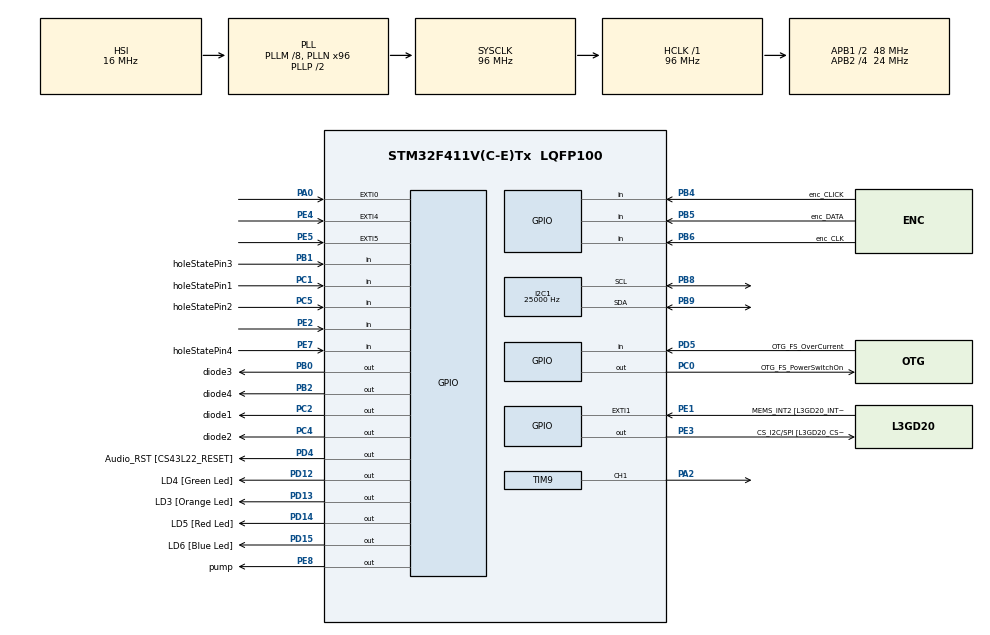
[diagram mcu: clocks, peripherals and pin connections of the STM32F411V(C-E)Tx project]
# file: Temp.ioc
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FREERTOS.Tasks01=defaultTask,1,128,StartDefaultTask,Default,NULL,Dynamic,NULL,NULL;diodeDetector,-3,128,diodeDetector_Init,Default,NULL,Dynamic,NULL,NULL;holeState,0,128,holeState_Init,Default,NULL,Dynamic,NULL,NULL;displayMenu,-3,128,displayMenu_Init,Default,NULL,Dynamic,NULL,NULL;servoPour,2,128,pourInit,Default,NULL,Dynamic,NULL,NULL
FREERTOS.configUSE_NEWLIB_REENTRANT=1
I2C1.ClockSpeed=25000
I2C1.I2C_Mode=I2C_Standard
Mcu.Family=STM32F4
Mcu.Name=STM32F411V(C-E)Tx
Mcu.Package=LQFP100
NVIC.PriorityGroup=NVIC_PRIORITYGROUP_4
NVIC.TIM1_UP_TIM10_IRQn=true\:15\:0\:false\:false\:true\:false\:false\:true\:true
NVIC.TIM2_IRQn=true\:5\:0\:false\:false\:true\:true\:true\:true\:true
NVIC.TimeBase=TIM1_UP_TIM10_IRQn
NVIC.TimeBaseIP=TIM1
PA0-WKUP.GPIO_ModeDefaultEXTI=GPIO_MODE_EVT_RISING
PA0-WKUP.Signal=GPXTI0
PA10.GPIO_Label=OTG_FS_ID
PA10.Signal=USB_OTG_FS_ID
PA11.GPIO_Label=OTG_FS_DM
PA11.Signal=USB_OTG_FS_DM
PA12.GPIO_Label=OTG_FS_DP
PA12.Signal=USB_OTG_FS_DP
PA13.GPIO_Label=SWDIO
PA13.Signal=SYS_JTMS-SWDIO
PA14.GPIO_Label=SWCLK
PA14.Signal=SYS_JTCK-SWCLK
PA2.Signal=S_TIM9_CH1
PA4.GPIO_Label=I2S3_WS [CS43L22_LRCK]
PA4.GPIO_Mode=GPIO_MODE_AF_PP
PA4.GPIO_PuPd=GPIO_NOPULL
PA4.GPIO_Speed=GPIO_SPEED_FREQ_LOW
PA4.Signal=I2S3_WS
PA5.GPIO_Label=SPI1_SCK [L3GD20_SC/SPC]
PA5.Signal=SPI1_SCK
PA6.GPIO_Label=SPI1_MISO [L3GD20_AS0/SDO]
PA6.Signal=SPI1_MISO
PA7.GPIO_Label=SPI1_MOSI [L3GD20_SDA/SDI/SDO]
PA7.Signal=SPI1_MOSI
PA9.GPIO_Label=VBUS_FS
PA9.Signal=USB_OTG_FS_VBUS
PB0.GPIO_Label=diode3
PB0.Signal=GPIO_Output
PB1.GPIO_Label=holeStatePin3
PB1.GPIO_PuPd=GPIO_PULLDOWN
PB1.Signal=GPIO_Input
PB10.GPIO_Label=CLK_IN [MP45DT02_CLK]
PB10.Signal=I2S2_CK
PB12.Signal=I2S2_WS
PB2.GPIO_Label=diode4
PB2.Signal=GPIO_Output
PB3.GPIO_Label=SWO
PB3.Signal=SYS_JTDO-SWO
PB4.GPIO_Label=enc_CLICK
PB4.GPIO_PuPd=GPIO_NOPULL
PB4.Signal=GPIO_Input
PB5.GPIO_Label=enc_DATA
PB5.Signal=GPIO_Input
PB6.GPIO_Label=enc_CLK
PB6.Signal=GPIO_Input
PB8.Mode=I2C
PB8.Signal=I2C1_SCL
PB9.Mode=I2C
PB9.Signal=I2C1_SDA
PC0.GPIO_Label=OTG_FS_PowerSwitchOn
PC0.PinState=GPIO_PIN_SET
PC0.Signal=GPIO_Output
PC1.GPIO_Label=holeStatePin1
PC1.GPIO_PuPd=GPIO_PULLDOWN
PC1.Signal=GPIO_Input
PC10.GPIO_Label=I2S3_SCK [CS43L22_SCLK]
PC10.GPIO_Mode=GPIO_MODE_AF_PP
PC10.GPIO_PuPd=GPIO_NOPULL
PC10.GPIO_Speed=GPIO_SPEED_FREQ_LOW
PC10.Signal=I2S3_CK
PC12.GPIO_Label=I2S3_SD [CS43L22_SDIN]
PC12.GPIO_Mode=GPIO_MODE_AF_PP
PC12.GPIO_PuPd=GPIO_NOPULL
PC12.GPIO_Speed=GPIO_SPEED_FREQ_LOW
PC12.Signal=I2S3_SD
PC14-OSC32_IN.GPIO_Label=PC14-OSC32_IN
PC14-OSC32_IN.Signal=RCC_OSC32_IN
PC15-OSC32_OUT.GPIO_Label=PC15-OSC32_OUT
PC15-OSC32_OUT.Signal=RCC_OSC32_OUT
PC2.GPIO_Label=diode1
PC2.Signal=GPIO_Output
PC3.GPIO_Label=PDM_OUT [MP45DT02_DOUT]
PC3.Signal=I2S2_SD
PC4.GPIO_Label=diode2
PC4.Signal=GPIO_Output
PC5.GPIO_Label=holeStatePin2
PC5.GPIO_PuPd=GPIO_PULLDOWN
PC5.Signal=GPIO_Input
PC7.GPIO_Label=I2S3_MCK [CS43L22_MCLK]
PC7.GPIO_Mode=GPIO_MODE_AF_PP
PC7.GPIO_PuPd=GPIO_NOPULL
PC7.GPIO_Speed=GPIO_SPEED_FREQ_LOW
PC7.Signal=I2S3_MCK
PD12.GPIO_Label=LD4 [Green Led]
PD12.GPIO_PuPd=GPIO_NOPULL
PD12.GPIO_Speed=GPIO_SPEED_FREQ_LOW
PD12.Signal=GPIO_Output
PD13.GPIO_Label=LD3 [Orange Led]
PD13.GPIO_PuPd=GPIO_NOPULL
PD13.GPIO_Speed=GPIO_SPEED_FREQ_LOW
PD13.Signal=GPIO_Output
PD14.GPIO_Label=LD5 [Red Led]
PD14.GPIO_PuPd=GPIO_NOPULL
PD14.GPIO_Speed=GPIO_SPEED_FREQ_LOW
PD14.Signal=GPIO_Output
PD15.GPIO_Label=LD6 [Blue Led]
PD15.GPIO_PuPd=GPIO_NOPULL
PD15.GPIO_Speed=GPIO_SPEED_FREQ_LOW
PD15.Signal=GPIO_Output
PD4.GPIO_Label=Audio_RST [CS43L22_RESET]
PD4.Signal=GPIO_Output
PD5.GPIO_Label=OTG_FS_OverCurrent
PD5.Signal=GPIO_Input
PE1.GPIO_Label=MEMS_INT2 [L3GD20_INT2]
PE1.GPIO_ModeDefaultEXTI=GPIO_MODE_EVT_RISING
PE1.Signal=GPXTI1
PE2.Signal=GPIO_Input
PE3.GPIO_Label=CS_I2C/SPI [L3GD20_CS_I2C/SPI]
PE3.Signal=GPIO_Output
PE4.GPIO_ModeDefaultEXTI=GPIO_MODE_EVT_RISING
PE4.Signal=GPXTI4
PE5.GPIO_ModeDefaultEXTI=GPIO_MODE_EVT_RISING
PE5.Signal=GPXTI5
PE7.GPIO_Label=holeStatePin4
PE7.GPIO_PuPd=GPIO_PULLDOWN
PE7.Signal=GPIO_Input
PE8.GPIO_Label=pump
PE8.Signal=GPIO_Output
PH0\ -\ OSC_IN.GPIO_Label=PH0-OSC_IN
PH0\ -\ OSC_IN.Signal=RCC_OSC_IN
PH1\ -\ OSC_OUT.GPIO_Label=PH1-OSC_OUT
PH1\ -\ OSC_OUT.Signal=RCC_OSC_OUT
ProjectManager.HeapSize=0x200
ProjectManager.StackSize=0x400
ProjectManager.TargetToolchain=STM32CubeIDE
RCC.48MHZClocksFreq_Value=24000000
RCC.AHBFreq_Value=96000000
RCC.APB1CLKDivider=RCC_HCLK_DIV2
RCC.APB1Freq_Value=48000000
RCC.APB1TimFreq_Value=96000000
RCC.APB2CLKDivider=RCC_HCLK_DIV4
RCC.APB2Freq_Value=24000000
RCC.APB2TimFreq_Value=48000000
RCC.CortexFreq_Value=96000000
RCC.HCLKFreq_Value=96000000
RCC.HSE_VALUE=8000000
RCC.HSI_VALUE=16000000
RCC.LSE_VALUE=32768
RCC.PLLI2SM=5
RCC.PLLI2SN=200
RCC.PLLM=8
RCC.PLLN=96
RCC.PLLQ=8
RCC.SYSCLKFreq_VALUE=96000000
RCC.SYSCLKSource=RCC_SYSCLKSOURCE_PLLCLK
RCC.VCOOutputFreq_Value=192000000
SH.S_TIM9_CH1.0=TIM9_CH1,PWM Generation1 CH1
TIM2.Period=60000
TIM9.AutoReloadPreload=TIM_AUTORELOAD_PRELOAD_ENABLE
TIM9.Channel-PWM\ Generation1\ CH1=TIM_CHANNEL_1
TIM9.Period=3600
TIM9.Prescaler=266
TIM9.Pulse-PWM\ Generation1\ CH1=249
VP_FREERTOS_VS_CMSIS_V1.Mode=CMSIS_V1
VP_SYS_VS_tim1.Mode=TIM1
VP_TIM2_VS_ClockSourceINT.Mode=Internal
board=STM32F411E-DISCO

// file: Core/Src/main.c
/* USER CODE BEGIN Header */
/**
  ******************************************************************************
  * @file           : main.c
  * @brief          : Main program body
  ******************************************************************************
  * @attention
  *
  * Copyright (c) 2024 STMicroelectronics.
  * All rights reserved.
  *
  * This software is licensed under terms that can be found in the LICENSE file
  * in the root directory of this software component.
  * If no LICENSE file comes with this software, it is provided AS-IS.
  *
  ******************************************************************************
  */
/* USER CODE END Header */
#include "main.h"
#include "cmsis_os.h"

/* USER CODE BEGIN Includes */
#include "menuHandler.h"
#include "shotHolder.h"
#include "liquidcrystal_i2c.h"
#include "servo.h"
#include "encoder.h"
/* USER CODE END Includes */

I2C_HandleTypeDef hi2c1;

TIM_HandleTypeDef htim2;
TIM_HandleTypeDef htim9;

osThreadId defaultTaskHandle;
osThreadId diodeDetectorHandle;
osThreadId holeStateHandle;
osThreadId displayMenuHandle;
osThreadId servoPourHandle;
/* USER CODE BEGIN PV */
/* delete them later */
uint8_t holeState1 = 0;
uint8_t menuCursor = 0;
uint8_t subMenu = 0;

/**
 * @brief Assigns function names to each substructure and drink position structure
 *
 *  This allows to use "handleLeft", "handleRight" and "clickedReact" only for better clarity
 */
sub_t SUB1 = {.leftReact = leftReact1, .rightReact = rightReact1, .clickedReact=clickedReact1};
sub_t SUB2 = {.leftReact = leftReact2, .rightReact = rightReact2, .clickedReact=clickedReact2};
sub_t SUB3 = {.leftReact = leftReact3, .rightReact = rightReact3, .clickedReact=clickedReact3};
menu_t menu = {.handleLeft = handleLeft, .handleRight = handleRight, .clickedReact=handleClicked};
drinkpos_t drinkpos = {{0,0,0,0}, .drinkChange = drinkChange, .drinkReset = drinkReset};
/* USER CODE END PV */

void SystemClock_Config(void);
static void MX_GPIO_Init(void);
static void MX_I2C1_Init(void);
static void MX_TIM2_Init(void);
static void MX_TIM9_Init(void);
void StartDefaultTask(void const * argument);
void diodeDetector_Init(void const * argument);
void holeState_Init(void const * argument);
void displayMenu_Init(void const * argument);
void pourInit(void const * argument);

/* USER CODE BEGIN PFP */
/*

*/
/* USER CODE END PFP */

int main(void)
{
  /* USER CODE BEGIN 1 */
  menu.currentMenu = &SUB1;
  /* USER CODE END 1 */

  /* MCU Configuration--------------------------------------------------------*/

  /* Reset of all peripherals, Initializes the Flash interface and the Systick. */
  HAL_Init();

  /* Configure the system clock */
  SystemClock_Config();

  /* Initialize all configured peripherals */
  MX_GPIO_Init();
  MX_I2C1_Init();
  MX_TIM2_Init();
  MX_TIM9_Init();
  /* USER CODE BEGIN 2 */
  encoderInit();
  HAL_TIM_Base_Start_IT(&htim2);
  HAL_TIM_PWM_Start(&htim9, TIM_CHANNEL_1);
  initServo();
  /* USER CODE END 2 */

  /* Create the thread(s) */
  /* definition and creation of defaultTask */
  osThreadDef(defaultTask, StartDefaultTask, osPriorityAboveNormal, 0, 128);
  defaultTaskHandle = osThreadCreate(osThread(defaultTask), NULL);

  /* definition and creation of diodeDetector */
  osThreadDef(diodeDetector, diodeDetector_Init, osPriorityIdle, 0, 128);
  diodeDetectorHandle = osThreadCreate(osThread(diodeDetector), NULL);

  /* definition and creation of holeState */
  osThreadDef(holeState, holeState_Init, osPriorityNormal, 0, 128);
  holeStateHandle = osThreadCreate(osThread(holeState), NULL);

  /* definition and creation of displayMenu */
  osThreadDef(displayMenu, displayMenu_Init, osPriorityIdle, 0, 128);
  displayMenuHandle = osThreadCreate(osThread(displayMenu), NULL);

  /* definition and creation of servoPour */
  osThreadDef(servoPour, pourInit, osPriorityHigh, 0, 128);
  servoPourHandle = osThreadCreate(osThread(servoPour), NULL);

  /* Start scheduler */
  osKernelStart();

  /* We should never get here as control is now taken by the scheduler */
  /* Infinite loop */
  while (1)
  {

  }
}

void SystemClock_Config(void)
{
  RCC_OscInitTypeDef RCC_OscInitStruct = {0};
  RCC_ClkInitTypeDef RCC_ClkInitStruct = {0};

  /** Configure the main internal regulator output voltage
  */
  __HAL_RCC_PWR_CLK_ENABLE();
  __HAL_PWR_VOLTAGESCALING_CONFIG(PWR_REGULATOR_VOLTAGE_SCALE1);

  /** Initializes the RCC Oscillators according to the specified parameters
  * in the RCC_OscInitTypeDef structure.
  */
  RCC_OscInitStruct.OscillatorType = RCC_OSCILLATORTYPE_HSI;
  RCC_OscInitStruct.HSIState = RCC_HSI_ON;
  RCC_OscInitStruct.HSICalibrationValue = RCC_HSICALIBRATION_DEFAULT;
  RCC_OscInitStruct.PLL.PLLState = RCC_PLL_ON;
  RCC_OscInitStruct.PLL.PLLSource = RCC_PLLSOURCE_HSI;
  RCC_OscInitStruct.PLL.PLLM = 8;
  RCC_OscInitStruct.PLL.PLLN = 96;
  RCC_OscInitStruct.PLL.PLLP = RCC_PLLP_DIV2;
  RCC_OscInitStruct.PLL.PLLQ = 8;
  if (HAL_RCC_OscConfig(&RCC_OscInitStruct) != HAL_OK)
  {
    Error_Handler();
  }

  /** Initializes the CPU, AHB and APB buses clocks
  */
  RCC_ClkInitStruct.ClockType = RCC_CLOCKTYPE_HCLK|RCC_CLOCKTYPE_SYSCLK
                              |RCC_CLOCKTYPE_PCLK1|RCC_CLOCKTYPE_PCLK2;
  RCC_ClkInitStruct.SYSCLKSource = RCC_SYSCLKSOURCE_PLLCLK;
  RCC_ClkInitStruct.AHBCLKDivider = RCC_SYSCLK_DIV1;
  RCC_ClkInitStruct.APB1CLKDivider = RCC_HCLK_DIV2;
  RCC_ClkInitStruct.APB2CLKDivider = RCC_HCLK_DIV4;

  if (HAL_RCC_ClockConfig(&RCC_ClkInitStruct, FLASH_LATENCY_3) != HAL_OK)
  {
    Error_Handler();
  }
}

static void MX_I2C1_Init(void)
{

  hi2c1.Instance = I2C1;
  hi2c1.Init.ClockSpeed = 25000;
  hi2c1.Init.DutyCycle = I2C_DUTYCYCLE_2;
  hi2c1.Init.OwnAddress1 = 0;
  hi2c1.Init.AddressingMode = I2C_ADDRESSINGMODE_7BIT;
  hi2c1.Init.DualAddressMode = I2C_DUALADDRESS_DISABLE;
  hi2c1.Init.OwnAddress2 = 0;
  hi2c1.Init.GeneralCallMode = I2C_GENERALCALL_DISABLE;
  hi2c1.Init.NoStretchMode = I2C_NOSTRETCH_DISABLE;
  if (HAL_I2C_Init(&hi2c1) != HAL_OK)
  {
    Error_Handler();
  }

}

static void MX_TIM2_Init(void)
{

  TIM_ClockConfigTypeDef sClockSourceConfig = {0};
  TIM_MasterConfigTypeDef sMasterConfig = {0};

  htim2.Instance = TIM2;
  htim2.Init.Prescaler = 0;
  htim2.Init.CounterMode = TIM_COUNTERMODE_UP;
  htim2.Init.Period = 60000;
  htim2.Init.ClockDivision = TIM_CLOCKDIVISION_DIV1;
  htim2.Init.AutoReloadPreload = TIM_AUTORELOAD_PRELOAD_DISABLE;
  if (HAL_TIM_Base_Init(&htim2) != HAL_OK)
  {
    Error_Handler();
  }
  sClockSourceConfig.ClockSource = TIM_CLOCKSOURCE_INTERNAL;
  if (HAL_TIM_ConfigClockSource(&htim2, &sClockSourceConfig) != HAL_OK)
  {
    Error_Handler();
  }
  sMasterConfig.MasterOutputTrigger = TIM_TRGO_RESET;
  sMasterConfig.MasterSlaveMode = TIM_MASTERSLAVEMODE_DISABLE;
  if (HAL_TIMEx_MasterConfigSynchronization(&htim2, &sMasterConfig) != HAL_OK)
  {
    Error_Handler();
  }

}

static void MX_TIM9_Init(void)
{

  TIM_OC_InitTypeDef sConfigOC = {0};

  htim9.Instance = TIM9;
  htim9.Init.Prescaler = 266;
  htim9.Init.CounterMode = TIM_COUNTERMODE_UP;
  htim9.Init.Period = 3600;
  htim9.Init.ClockDivision = TIM_CLOCKDIVISION_DIV1;
  htim9.Init.AutoReloadPreload = TIM_AUTORELOAD_PRELOAD_ENABLE;
  if (HAL_TIM_PWM_Init(&htim9) != HAL_OK)
  {
    Error_Handler();
  }
  sConfigOC.OCMode = TIM_OCMODE_PWM1;
  sConfigOC.Pulse = 249;
  sConfigOC.OCPolarity = TIM_OCPOLARITY_HIGH;
  sConfigOC.OCFastMode = TIM_OCFAST_DISABLE;
  if (HAL_TIM_PWM_ConfigChannel(&htim9, &sConfigOC, TIM_CHANNEL_1) != HAL_OK)
  {
    Error_Handler();
  }
  HAL_TIM_MspPostInit(&htim9);

}

static void MX_GPIO_Init(void)
{
  GPIO_InitTypeDef GPIO_InitStruct = {0};

  /* GPIO Ports Clock Enable */
  __HAL_RCC_GPIOE_CLK_ENABLE();
  __HAL_RCC_GPIOC_CLK_ENABLE();
  __HAL_RCC_GPIOH_CLK_ENABLE();
  __HAL_RCC_GPIOA_CLK_ENABLE();
  __HAL_RCC_GPIOB_CLK_ENABLE();
  __HAL_RCC_GPIOD_CLK_ENABLE();

  /*Configure GPIO pin Output Level */
  HAL_GPIO_WritePin(GPIOE, CS_I2C_SPI_Pin|pump_Pin, GPIO_PIN_RESET);

  /*Configure GPIO pin Output Level */
  HAL_GPIO_WritePin(OTG_FS_PowerSwitchOn_GPIO_Port, OTG_FS_PowerSwitchOn_Pin, GPIO_PIN_SET);

  /*Configure GPIO pin Output Level */
  HAL_GPIO_WritePin(GPIOC, diode1_Pin|diode2_Pin, GPIO_PIN_RESET);

  /*Configure GPIO pin Output Level */
  HAL_GPIO_WritePin(GPIOB, diode3_Pin|diode4_Pin, GPIO_PIN_RESET);

  /*Configure GPIO pin Output Level */
  HAL_GPIO_WritePin(GPIOD, LD4_Pin|LD3_Pin|LD5_Pin|LD6_Pin
                          |Audio_RST_Pin, GPIO_PIN_RESET);

  /*Configure GPIO pin : PE2 */
  GPIO_InitStruct.Pin = GPIO_PIN_2;
  GPIO_InitStruct.Mode = GPIO_MODE_INPUT;
  GPIO_InitStruct.Pull = GPIO_NOPULL;
  HAL_GPIO_Init(GPIOE, &GPIO_InitStruct);

  /*Configure GPIO pins : CS_I2C_SPI_Pin pump_Pin */
  GPIO_InitStruct.Pin = CS_I2C_SPI_Pin|pump_Pin;
  GPIO_InitStruct.Mode = GPIO_MODE_OUTPUT_PP;
  GPIO_InitStruct.Pull = GPIO_NOPULL;
  GPIO_InitStruct.Speed = GPIO_SPEED_FREQ_LOW;
  HAL_GPIO_Init(GPIOE, &GPIO_InitStruct);

  /*Configure GPIO pins : PE4 PE5 MEMS_INT2_Pin */
  GPIO_InitStruct.Pin = GPIO_PIN_4|GPIO_PIN_5|MEMS_INT2_Pin;
  GPIO_InitStruct.Mode = GPIO_MODE_EVT_RISING;
  GPIO_InitStruct.Pull = GPIO_NOPULL;
  HAL_GPIO_Init(GPIOE, &GPIO_InitStruct);

  /*Configure GPIO pins : OTG_FS_PowerSwitchOn_Pin diode1_Pin diode2_Pin */
  GPIO_InitStruct.Pin = OTG_FS_PowerSwitchOn_Pin|diode1_Pin|diode2_Pin;
  GPIO_InitStruct.Mode = GPIO_MODE_OUTPUT_PP;
  GPIO_InitStruct.Pull = GPIO_NOPULL;
  GPIO_InitStruct.Speed = GPIO_SPEED_FREQ_LOW;
  HAL_GPIO_Init(GPIOC, &GPIO_InitStruct);

  /*Configure GPIO pins : holeStatePin1_Pin holeStatePin2_Pin */
  GPIO_InitStruct.Pin = holeStatePin1_Pin|holeStatePin2_Pin;
  GPIO_InitStruct.Mode = GPIO_MODE_INPUT;
  GPIO_InitStruct.Pull = GPIO_PULLUP;
  HAL_GPIO_Init(GPIOC, &GPIO_InitStruct);

  /*Configure GPIO pin : PDM_OUT_Pin */
  GPIO_InitStruct.Pin = PDM_OUT_Pin;
  GPIO_InitStruct.Mode = GPIO_MODE_AF_PP;
  GPIO_InitStruct.Pull = GPIO_NOPULL;
  GPIO_InitStruct.Speed = GPIO_SPEED_FREQ_LOW;
  GPIO_InitStruct.Alternate = GPIO_AF5_SPI2;
  HAL_GPIO_Init(PDM_OUT_GPIO_Port, &GPIO_InitStruct);

  /*Configure GPIO pin : PA0 */
  GPIO_InitStruct.Pin = GPIO_PIN_0;
  GPIO_InitStruct.Mode = GPIO_MODE_EVT_RISING;
  GPIO_InitStruct.Pull = GPIO_NOPULL;
  HAL_GPIO_Init(GPIOA, &GPIO_InitStruct);

  /*Configure GPIO pin : I2S3_WS_Pin */
  GPIO_InitStruct.Pin = I2S3_WS_Pin;
  GPIO_InitStruct.Mode = GPIO_MODE_AF_PP;
  GPIO_InitStruct.Pull = GPIO_NOPULL;
  GPIO_InitStruct.Speed = GPIO_SPEED_FREQ_LOW;
  GPIO_InitStruct.Alternate = GPIO_AF6_SPI3;
  HAL_GPIO_Init(I2S3_WS_GPIO_Port, &GPIO_InitStruct);

  /*Configure GPIO pins : SPI1_SCK_Pin SPI1_MISO_Pin SPI1_MOSI_Pin */
  GPIO_InitStruct.Pin = SPI1_SCK_Pin|SPI1_MISO_Pin|SPI1_MOSI_Pin;
  GPIO_InitStruct.Mode = GPIO_MODE_AF_PP;
  GPIO_InitStruct.Pull = GPIO_NOPULL;
  GPIO_InitStruct.Speed = GPIO_SPEED_FREQ_VERY_HIGH;
  GPIO_InitStruct.Alternate = GPIO_AF5_SPI1;
  HAL_GPIO_Init(GPIOA, &GPIO_InitStruct);

  /*Configure GPIO pins : diode3_Pin diode4_Pin */
  GPIO_InitStruct.Pin = diode3_Pin|diode4_Pin;
  GPIO_InitStruct.Mode = GPIO_MODE_OUTPUT_PP;
  GPIO_InitStruct.Pull = GPIO_NOPULL;
  GPIO_InitStruct.Speed = GPIO_SPEED_FREQ_LOW;
  HAL_GPIO_Init(GPIOB, &GPIO_InitStruct);

  /*Configure GPIO pin : holeStatePin3_Pin */
  GPIO_InitStruct.Pin = holeStatePin3_Pin;
  GPIO_InitStruct.Mode = GPIO_MODE_INPUT;
  GPIO_InitStruct.Pull = GPIO_PULLUP;
  HAL_GPIO_Init(holeStatePin3_GPIO_Port, &GPIO_InitStruct);

  /*Configure GPIO pin : holeStatePin4_Pin */
  GPIO_InitStruct.Pin = holeStatePin4_Pin;
  GPIO_InitStruct.Mode = GPIO_MODE_INPUT;
  GPIO_InitStruct.Pull = GPIO_PULLUP;
  HAL_GPIO_Init(holeStatePin4_GPIO_Port, &GPIO_InitStruct);

  /*Configure GPIO pins : CLK_IN_Pin PB12 */
  GPIO_InitStruct.Pin = CLK_IN_Pin|GPIO_PIN_12;
  GPIO_InitStruct.Mode = GPIO_MODE_AF_PP;
  GPIO_InitStruct.Pull = GPIO_NOPULL;
  GPIO_InitStruct.Speed = GPIO_SPEED_FREQ_LOW;
  GPIO_InitStruct.Alternate = GPIO_AF5_SPI2;
  HAL_GPIO_Init(GPIOB, &GPIO_InitStruct);

  /*Configure GPIO pins : LD4_Pin LD3_Pin LD5_Pin LD6_Pin
                           Audio_RST_Pin */
  GPIO_InitStruct.Pin = LD4_Pin|LD3_Pin|LD5_Pin|LD6_Pin
                          |Audio_RST_Pin;
  GPIO_InitStruct.Mode = GPIO_MODE_OUTPUT_PP;
  GPIO_InitStruct.Pull = GPIO_NOPULL;
  GPIO_InitStruct.Speed = GPIO_SPEED_FREQ_LOW;
  HAL_GPIO_Init(GPIOD, &GPIO_InitStruct);

  /*Configure GPIO pins : I2S3_MCK_Pin I2S3_SCK_Pin I2S3_SD_Pin */
  GPIO_InitStruct.Pin = I2S3_MCK_Pin|I2S3_SCK_Pin|I2S3_SD_Pin;
  GPIO_InitStruct.Mode = GPIO_MODE_AF_PP;
  GPIO_InitStruct.Pull = GPIO_NOPULL;
  GPIO_InitStruct.Speed = GPIO_SPEED_FREQ_LOW;
  GPIO_InitStruct.Alternate = GPIO_AF6_SPI3;
  HAL_GPIO_Init(GPIOC, &GPIO_InitStruct);

  /*Configure GPIO pin : VBUS_FS_Pin */
  GPIO_InitStruct.Pin = VBUS_FS_Pin;
  GPIO_InitStruct.Mode = GPIO_MODE_INPUT;
  GPIO_InitStruct.Pull = GPIO_NOPULL;
  HAL_GPIO_Init(VBUS_FS_GPIO_Port, &GPIO_InitStruct);

  /*Configure GPIO pins : OTG_FS_ID_Pin OTG_FS_DM_Pin OTG_FS_DP_Pin */
  GPIO_InitStruct.Pin = OTG_FS_ID_Pin|OTG_FS_DM_Pin|OTG_FS_DP_Pin;
  GPIO_InitStruct.Mode = GPIO_MODE_AF_PP;
  GPIO_InitStruct.Pull = GPIO_NOPULL;
  GPIO_InitStruct.Speed = GPIO_SPEED_FREQ_VERY_HIGH;
  GPIO_InitStruct.Alternate = GPIO_AF10_OTG_FS;
  HAL_GPIO_Init(GPIOA, &GPIO_InitStruct);

  /*Configure GPIO pin : OTG_FS_OverCurrent_Pin */
  GPIO_InitStruct.Pin = OTG_FS_OverCurrent_Pin;
  GPIO_InitStruct.Mode = GPIO_MODE_INPUT;
  GPIO_InitStruct.Pull = GPIO_NOPULL;
  HAL_GPIO_Init(OTG_FS_OverCurrent_GPIO_Port, &GPIO_InitStruct);

  /*Configure GPIO pins : enc_CLICK_Pin enc_DATA_Pin enc_CLK_Pin */
  GPIO_InitStruct.Pin = enc_CLICK_Pin|enc_DATA_Pin|enc_CLK_Pin;
  GPIO_InitStruct.Mode = GPIO_MODE_INPUT;
  GPIO_InitStruct.Pull = GPIO_NOPULL;
  HAL_GPIO_Init(GPIOB, &GPIO_InitStruct);

}

void StartDefaultTask(void const * argument)
{
  /* USER CODE BEGIN 5 */

  /* Infinite loop */
  for(;;)
  {

	  osDelay(10000);
  }
  /* USER CODE END 5 */
}

/* USER CODE BEGIN Header_diodeDetector_Init */
/**
* @brief Function implementing the diodeDetector thread.
*
* This thread is responsible for LED lightning when a shot glass is detected on holders positions
* @param argument: Not used
* @retval None
*/
/* USER CODE END Header_diodeDetector_Init */
void diodeDetector_Init(void const * argument)
{
  /* USER CODE BEGIN diodeDetector_Init */
  /* Infinite loop */
  for(;;)
  {

	if (drinkpos.postitionOfDrinks[0] == 1){
		HAL_GPIO_WritePin(diode1_GPIO_Port, diode1_Pin, 1);
	}
	else{
		HAL_GPIO_WritePin(diode1_GPIO_Port, diode1_Pin, 0);
	}
	if (drinkpos.postitionOfDrinks[1] == 1){
		HAL_GPIO_WritePin(diode2_GPIO_Port, diode2_Pin, 1);
	}
	else{
		HAL_GPIO_WritePin(diode2_GPIO_Port, diode2_Pin, 0);
	}
	if (drinkpos.postitionOfDrinks[2] == 1){
		HAL_GPIO_WritePin(diode3_GPIO_Port, diode3_Pin, 1);
	}
	else{
		HAL_GPIO_WritePin(diode3_GPIO_Port, diode3_Pin, 0);
	}
	if (drinkpos.postitionOfDrinks[3] == 1){
		HAL_GPIO_WritePin(diode4_GPIO_Port, diode4_Pin, 1);
	}
	else{
		HAL_GPIO_WritePin(diode4_GPIO_Port, diode4_Pin, 0);
	}

	osDelay(100);
  }
  /* USER CODE END diodeDetector_Init */
}

/* USER CODE BEGIN Header_holeState_Init */
/**
* @brief Function implementing the holeState thread.
*
* This thread is responsible for checking whether the glass is in position or has been removed from it
* @param argument: Not used
* @retval None
*/
/* USER CODE END Header_holeState_Init */
void holeState_Init(void const * argument)
{
  /* USER CODE BEGIN holeState_Init */
  /* Infinite loop */
  for(;;)
  {

	if (HAL_GPIO_ReadPin(holeStatePin1_GPIO_Port, holeStatePin1_Pin) == 0){
		drinkpos.drinkChange(&drinkpos, 1);
	}
	else{
		drinkpos.drinkChange(&drinkpos, 11);
	}

	if (HAL_GPIO_ReadPin(holeStatePin2_GPIO_Port, holeStatePin2_Pin) == 0){
		drinkpos.drinkChange(&drinkpos, 2);
	}
	else{
		drinkpos.drinkChange(&drinkpos, 22);
	}
	if (HAL_GPIO_ReadPin(holeStatePin3_GPIO_Port, holeStatePin3_Pin) == 0){
		drinkpos.drinkChange(&drinkpos, 3);
	}
	else{
		drinkpos.drinkChange(&drinkpos, 33);
	}
	if (HAL_GPIO_ReadPin(holeStatePin4_GPIO_Port, holeStatePin4_Pin) == 0){
		drinkpos.drinkChange(&drinkpos, 4);
	}
	else{
		drinkpos.drinkChange(&drinkpos, 44);
	}

    osDelay(100);
  }
  /* USER CODE END holeState_Init */
}

/* USER CODE BEGIN Header_displayMenu_Init */
/**
* @brief Function implementing the displayMenu thread.
*
* This thread is responsible for permanently displaying current menu and current cursor position
* @param argument: Not used
* @retval None
*/
/* USER CODE END Header_displayMenu_Init */
void displayMenu_Init(void const * argument)
{
  /* USER CODE BEGIN displayMenu_Init */
  HD44780_Init(2);
  drinkCounterReset();
  menu.subMenuFlag = 1;
  menu.cursorPos = 0;
  menu.menuChanged = 1;
  menu.mililiters = 10;
  /* Infinite loop */
  for(;;)
  {
	  switch(menu.subMenuFlag){
	  	  case 1:
	  		  menu.currentMenu = &SUB1;
	  		  break;
	  	  case 2:
	          menu.currentMenu = &SUB2;
	          break;
	  	  case 3:
	  		  menu.currentMenu = &SUB3;
	  		  break;
	  }
	  if(menu.menuChanged==1){
		  if (menu.currentMenu==&SUB1){
			  defaultMenu();
			  switch(menu.cursorPos){
			  	  case 0:
			  		  defaultMenuCursorPos1();
			  		  break;
			  	  case 1:
			  		  defaultMenuCursorPos2();
			  		  break;
			  	  case 2:
			  		  defaultMenuCursorPos3();
			  		  break;
			  }
		  }
		  if (menu.currentMenu==&SUB2){
			  sub2Menu(&menu);
			  switch(menu.cursorPos){
			  	  case 0:
			  		  sub2MenuCursorPos1();
			  		  break;
			  	  case 1:
			  		  sub2MenuCursorPos2();
			  		  break;
			  }
		  }
		  if (menu.currentMenu==&SUB3){
			  sub3Menu();
			  switch(menu.cursorPos){
			  	  case 0:
			  		  sub3MenuCursorPos1();
			  		  break;
			  	  case 1:
			  		  sub3MenuCursorPos2();
			  		  break;
			  }
		  }
	  menu.menuChanged = 0;
	  }
	osDelay(30);
  }
  /* USER CODE END displayMenu_Init */
}

/* USER CODE BEGIN Header_pourInit */

void pump(int timeOn){
	osDelay(2000);
	HAL_GPIO_WritePin(pump_GPIO_Port, pump_Pin, 1);
	osDelay(timeOn);
	HAL_GPIO_WritePin(pump_GPIO_Port, pump_Pin, 0);
	osDelay(2000);
}
/**
* @brief Function implementing the servoPour thread.
*
* This thread s responsible for adjusting servo to proper positions and pouring correct amount of drink
* @param argument: Not used
* @retval None
*/
/* USER CODE END Header_pourInit */
void pourInit(void const * argument)
{
  /* USER CODE BEGIN pourInit */
	menu.pourChanged = 0;
	HAL_GPIO_WritePin(pump_GPIO_Port, pump_Pin, 0);
  /* Infinite loop */
  for(;;)
  {
	if (menu.pourChanged == 1){
		setRotation(10);
		osDelay(1500);
		if (drinkpos.postitionOfDrinks[0] == 1){
			setRotation(58);
			pump(menu.mililiters*200);
			drinkAddCounter1();
		}
		if (drinkpos.postitionOfDrinks[1] == 1){
			setRotation(84);
			pump(menu.mililiters*200);
			drinkAddCounter2();
		}
		if (drinkpos.postitionOfDrinks[2] == 1){
			setRotation(112);
			pump(menu.mililiters*200);
			drinkAddCounter3();
		}
		if (drinkpos.postitionOfDrinks[3] == 1){
			setRotation(141);
			pump(menu.mililiters*200);
			drinkAddCounter4();
		}
		osDelay(500);
		setRotation(180);
		menu.pourChanged = 0;
	}
    osDelay(30);
  }
  /* USER CODE END pourInit */
}

void HAL_TIM_PeriodElapsedCallback(TIM_HandleTypeDef *htim)
{
  if (htim->Instance == TIM1) {
    HAL_IncTick();
  }
}

void Error_Handler(void)
{
  __disable_irq();
  while (1)
  {
  }
}
